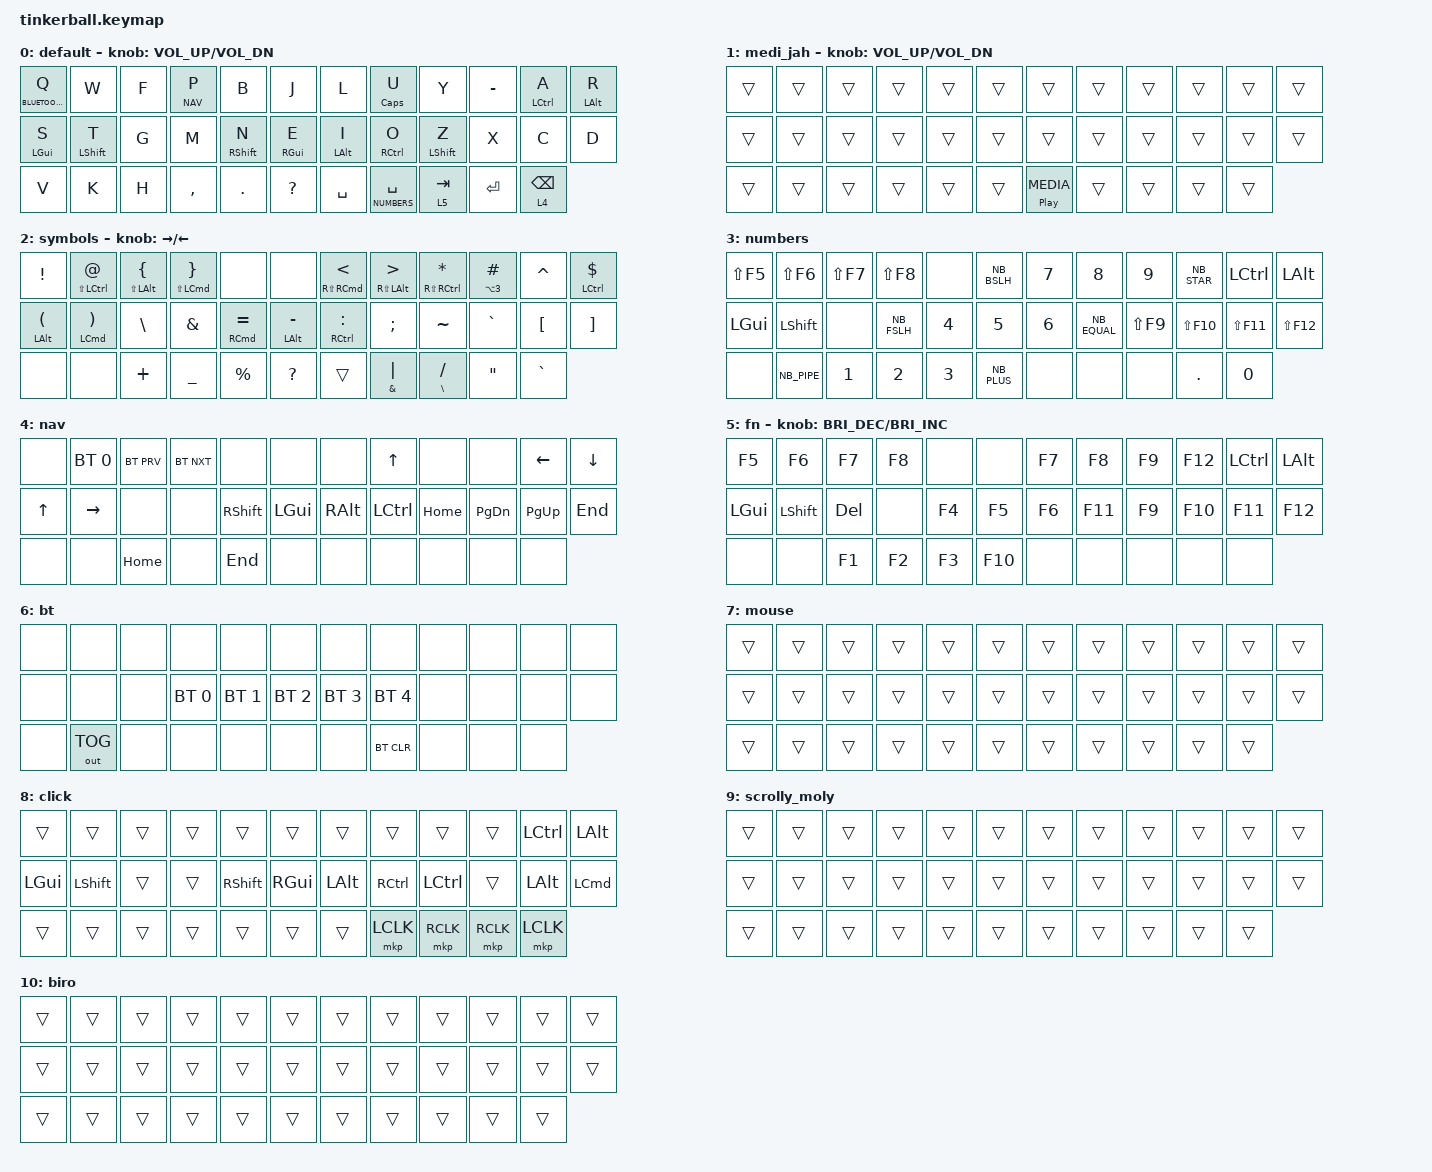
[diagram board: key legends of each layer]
#include "keys_nb_osx.h"
#include "keys_nb_win.h"
#include <behaviors.dtsi>
#include <dt-bindings/zmk/bt.h>
#include <dt-bindings/zmk/keys.h>
#include <dt-bindings/zmk/mouse.h>
#include <dt-bindings/zmk/outputs.h>

#define MEDIA 1
#define SYMBOLS 2
#define NUMBERS 3
#define NAV 4
#define FUNCTION 5
#define BLUETOOTH 6
#define MOUSE 7
#define CLICK 8
#define SCRL 9
#define BIRO 10

// tapping-term-ms

#define TT 160

&caps_word { continue-list = <NB_UNDERSCORE NB_MINUS WNB_UNDERSCORE WNB_MINUS>; };

/ {
    chosen { zmk,matrix_transform = &five_column_transform; };
};

/ {
    combos {
        compatible = "zmk,combos";

        combo_ques {
            timeout-ms = <50>;
            key-positions = <7 6>;
            bindings = <&ques_excl>;
        };

        aa {
            bindings = <&kp LEFT_BRACKET>;
            key-positions = <26 27>;
        };

        ae {
            bindings = <&kp APOS>;
            key-positions = <3 2>;
        };

        oe {
            bindings = <&kp SEMI>;
            key-positions = <23 22>;
        };

        combo_lpar {
            bindings = <&kp NB_LPAR>;
            key-positions = <22 21>;
        };

        combo_rpara {
            bindings = <&kp NB_RPAR>;
            key-positions = <7 8>;
        };

        combo-lcurl {
            bindings = <&kp NB_RBRC>;
            key-positions = <2 1>;
        };

        combo_rcurl {
            bindings = <&kp NB_RBRC>;
            key-positions = <27 28>;
        };

        combo_at {
            bindings = <&kp NB_AT>;
            key-positions = <3 8>;
        };

        caps_word_combo {
            bindings = <&caps_word>;
            key-positions = <12 17>;
        };
    };
};

/ {
    behaviors {
        hml: hml {
            compatible = "zmk,behavior-hold-tap";
            #binding-cells = <2>;
            flavor = "balanced";
            tapping-term-ms = <280>;
            quick-tap-ms = <175>;                // repeat on tap-into-hold
            bindings = <&kp>, <&kp>;

            label = "HML";
            hold-trigger-key-positions = <5 6 7 8 9 15 16 17 18 19 25 26 27 28 29 30 31 32 33>;
        };

        hmr: hmr {
            compatible = "zmk,behavior-hold-tap";
            #binding-cells = <2>;
            flavor = "balanced";
            tapping-term-ms = <280>;
            quick-tap-ms = <175>;                // repeat on tap-into-hold
            bindings = <&kp>, <&kp>;

            label = "HMR";
            hold-trigger-key-positions = <0 1 2 3 4 10 11 12 13 14 20 21 22 23 24 30 31 32 33>;
        };

        hmpt: homerow_mods_prefer_tap {
            compatible = "zmk,behavior-hold-tap";
            label = "HOMEROW_MODS_PREFER_TAP";
            #binding-cells = <2>;
            tapping-term-ms = <TT>;
            quick-tap-ms = <0>;
            flavor = "tap-preferred";
            bindings = <&kp>, <&kp>;
        };

        blt: balanced_layer_tap {
            compatible = "zmk,behavior-hold-tap";
            label = "BALANCED_LAYER_TAP";
            #binding-cells = <2>;
            tapping-term-ms = <TT>;
            quick-tap-ms = <0>;
            flavor = "balanced";
            bindings = <&mo>, <&kp>;
        };

        tt: toggle_layer_tap {
            compatible = "zmk,behavior-hold-tap";
            label = "TOGGLE_LAYER_TAP";
            #binding-cells = <2>;
            tapping-term-ms = <250>;
            flavor = "tap-preferred";
            bindings = <&kp>, <&tog>;
        };

        repeat_encoder: repeat_encoder {
            compatible = "zmk,behavior-sensor-rotate";
            label = "REPEAT_ENCODER";
            #sensor-binding-cells = <0>;
            bindings = <&kp BSPC>, <&key_repeat>;
        };

        tsl: behavior_trackball_scroll {
            compatible = "zmk,behavior-point-device-incremental";
            label = "TRACKBALL_SCROLL";
            #trackball-binding-cells = <0>;
            mode = "scroll-mode";
            flavor = "default";
            scale_mode = "dividor";
            scale_factor = <4>;
            smoothing;
        };

        tkp_fast: behavior_trackball_key_press {
            compatible = "zmk,behavior-point-device-directional";
            label = "TRACKBALL_KEY_PRESS";
            #trackball-binding-cells = <4>;
            mode = "distance-mode";
            flavor = "2-dim";
            step_size = <50>;
        };

        apos_dqt: quot_doublequot {
            compatible = "zmk,behavior-mod-morph";
            #binding-cells = <0>;
            bindings = <&kp NB_APOS>, <&kp NB_DQT>;

            label = "quotus";
            mods = <(MOD_LSFT|MOD_RSFT)>;
        };

        ques_excl: questionmark_exlamation_mark {
            compatible = "zmk,behavior-mod-morph";
            #binding-cells = <0>;
            bindings = <&kp NB_QMARK>, <&kp NB_EXCL>;

            label = "questus";
            mods = <(MOD_LSFT|MOD_RSFT)>;
        };
    };

    conditional_layers {
        compatible = "zmk,conditional-layers";

        nav_ball_scroll {
            if-layers = <MOUSE NAV>;
            then-layer = <BIRO>;
        };

        num_ball_scroll {
            if-layers = <MOUSE SYMBOLS>;
            then-layer = <SCRL>;
        };
    };

    macros {
        vi_editing_mode: vi_editing_mode {
            label = "vi editing-mode";
            compatible = "zmk,behavior-macro";
            #binding-cells = <0>;
            bindings =
                <&macro_tap>,
                <&kp S &kp E &kp T &kp SPACE &kp MINUS &kp O &kp SPACE &kp V &kp I &kp RET>;
        };
    };

    combos {
        compatible = "zmk,combos";

        combo_vi_editing_mode {
            timeout-ms = <50>;
            key-positions = <27 28>;
            bindings = <&vi_editing_mode>;
        };
    };

    keymap {
        compatible = "zmk,keymap";

        default {
            // --------------------------------------------------------------------------------------------------------------------------------------------------------------------
            //  '    |  ,  |  .  |  P/Nav  |  Y  |                             |  F/Fn  |  G  |  C/Caps  |    R    |  L   |
            // A/Sym |  O/Ctrl  |  E/Alt [A->F13]? |  U/Cmd  |  I  |           |  D  |  H/Cmd  |  T/Alt  |    N/Ctrl    |  S/Sym |
            // Esc/Lsft|  Q/Click  |  J  |  K  |  X  |                               |  B  |  M  |  N  |    V    |Z/Rsft|
            // | Media/Play-Pause | Bspc/LC | SPC/Num/RC |                                                       | Ent | Tab |     |

            bindings = <
&lt BLUETOOTH Q  &kp W         &kp F  &blt NAV P  &kp B               &kp J        &kp L        &hml CAPS U         &kp Y         &kp MINUS  &hml LCTRL A  &hml LALT R
&hml LGUI S      &hml LSHFT T  &kp G  &kp M       &hmr RIGHT_SHIFT N  &hmr RGUI E  &hmr LALT I  &hmr RCTRL O        &hml LSHFT Z  &kp X      &kp C         &kp D
&kp V            &kp K         &kp H  &kp COMMA   &kp DOT             &kp QMARK    &kp SPACE    &blt NUMBERS SPACE  &blt 5 TAB    &kp RET    &blt 4 BSPC
            >;

            sensor-bindings = <&inc_dec_kp C_VOL_UP C_VOL_DN>;
        };

        medi_jah {
            bindings = <
&trans  &trans  &trans  &trans  &trans  &trans  &trans          &trans  &trans  &trans  &trans  &trans
&trans  &trans  &trans  &trans  &trans  &trans  &trans          &trans  &trans  &trans  &trans  &trans
&trans  &trans  &trans  &trans  &trans  &trans  &tt C_PP MEDIA  &trans  &trans  &trans  &trans
            >;

            sensor-bindings = <&inc_dec_kp C_VOL_UP C_VOL_DN>;
        };

        symbols {
            // --------------------------------------------------------------------------------------------------------------------------------------------------------------------
            //  !  |  @  |  {  |  }  |     |                |         |    <    |    >   |  *  |   #  |
            //  ^  |  $  |  (  |  )  |  \  |                |    &    |    =    |    -   |  :  |   ;  |
            //  ~  |  `  |  [  |  ]  |     |                |         |    +    |    _   |  %  |   ?  |
            //         |  ,,  | |/&  | //\ |                |    "    |    `    |   ,,   |

            bindings = <
&kp EXCL         &hml LS(LCTRL) AT  &hmpt LS(LALT) LBRC  &hml LS(LCMD) RBRC  &none          &none             &hml RS(RCMD) LT  &hmpt RS(LALT) GT  &hml RS(RCTRL) ASTERISK  &hml LA(N3) HASH  &kp CARET  &hml LCTRL DOLLAR
&hmpt LALT LPAR  &hml LCMD RPAR     &kp BACKSLASH        &kp AMPS            &hml RCMD EQL  &hmpt LALT MINUS  &hml RCTRL COLON  &kp SEMICOLON      &kp TILDE                &kp GRAVE         &kp LBKT   &kp RBKT
&none            &none              &kp PLUS             &kp UNDERSCORE      &kp PERCENT    &kp QMARK         &trans            &mt AMPS PIPE      &mt BACKSLASH SLASH      &kp DQT           &kp GRAVE
            >;

            sensor-bindings = <&inc_dec_kp RIGHT LEFT>;
            trackball-bindings = <&tmv_fine>;
        };

        numbers {
            // --------------------------------------------------------------------------------------------------------------------------------------------------------------------
            //   s-f5  |  s-f6  |  s-f7 |  s-f8  |   |            |         |    4/<    |    5/>   |  6/*  |   7//  |
            //    s-f1   |  s-f2 |  s-f3 | s-f4 |   |             |   DEL   |    0/=    |    1/-   | 2/: |   3/;  |
            //     s-f9   | s-f10 | s-f11 | s-f12 |   |           |         |    8/+    |    9/_   | +/- | *//  |
            //         |      |     |      |     |      |    .    |    =    |      |

            bindings = <
&kp LS(F5)    &kp LS(F6)   &kp LS(F7)  &kp LS(F8)   &none   &kp NB_BSLH  &kp N7  &kp N8        &kp N9      &kp NB_STAR  &kp LEFT_CONTROL  &kp LALT
&kp LEFT_GUI  &kp LSHIFT   &none       &kp NB_FSLH  &kp N4  &kp N5       &kp N6  &kp NB_EQUAL  &kp LS(F9)  &kp LS(F10)  &kp LS(F11)       &kp LS(F12)
&none         &kp NB_PIPE  &kp N1      &kp N2       &kp N3  &kp NB_PLUS  &none   &none         &none       &kp DOT      &kp N0
            >;

            trackball-bindings = <&tsl>;
        };

        nav {
            // --------------------------------------------------------------------------------------------------------------------------------------------------------------------
            //     |     |     |     |     |                |         |         |    ^   |     |      |
            //     |     |     |     |     |                |         |    <    |    v   |  >  |      |
            //     |     |     |     |     |                |         |   HOME  |        | END |      |
            //         |      |     |      |     |      |    PgDN   |   PgUP  |      |

            bindings = <
&none   &bt BT_SEL 0  &bt BT_PRV  &bt BT_NXT  &none            &none         &none     &kp UP     &none     &none      &kp LEFT   &kp DOWN
&kp UP  &kp RIGHT     &none       &none       &kp RIGHT_SHIFT  &kp LEFT_GUI  &kp RALT  &kp LCTRL  &kp HOME  &kp PG_DN  &kp PG_UP  &kp END
&none   &none         &kp HOME    &none       &kp END          &none         &none     &none      &none     &none      &none
            >;
        };

        fn {
            // --------------------------------------------------------------------------------------------------------------------------------------------------------------------
            //  F5 |  F6 | F7  | F8  |     |                |         |         |        |     |      |
            //  F1 |  F2 | F3  | F4  | DEL |                |         |         |        |     |      |
            //  F9 | F10 | F11 | F12 |     |                |   ,,    |   ,,    |        |     |      |
            //         |      |     |      |     |      |           |         |      |

            bindings = <
&kp F5        &kp F6      &kp F7   &kp F8  &none   &none    &kp F7  &kp F8   &kp F9  &kp F12  &kp LCTRL  &kp LEFT_ALT
&kp LEFT_GUI  &kp LSHIFT  &kp DEL  &none   &kp F4  &kp F5   &kp F6  &kp F11  &kp F9  &kp F10  &kp F11    &kp F12
&none         &none       &kp F1   &kp F2  &kp F3  &kp F10  &none   &none    &none   &none    &none
            >;

            sensor-bindings = <&inc_dec_kp C_BRI_DEC C_BRI_INC>;
        };

        bt {
            // --------------------------------------------------------------------------------------------------------------------------------------------------------------------
            //     |     |     |     |     |                |         |         |        |     |      |
            //     |     |     |     |     |                |   P0    |    P1   |   P2   |  P3 |  P4  |
            //     |     |     |     |     |                | BT/USB  |         |        |     |      |
            //         | CLR  |     |      |

            bindings = <
&none  &none         &none  &none         &none         &none         &none         &none         &none  &none  &none  &none
&none  &none         &none  &bt BT_SEL 0  &bt BT_SEL 1  &bt BT_SEL 2  &bt BT_SEL 3  &bt BT_SEL 4  &none  &none  &none  &none
&none  &out OUT_TOG  &none  &none         &none         &none         &none         &bt BT_CLR    &none  &none  &none
            >;
        };

        mouse {
            bindings = <
&trans  &trans  &trans  &trans  &trans  &trans  &trans  &trans  &trans  &trans  &trans  &trans
&trans  &trans  &trans  &trans  &trans  &trans  &trans  &trans  &trans  &trans  &trans  &trans
&trans  &trans  &trans  &trans  &trans  &trans  &trans  &trans  &trans  &trans  &trans
            >;

            trackball-bindings = <&tmv>;
        };

        click {
            bindings = <
&trans        &trans      &trans  &trans  &trans           &trans         &trans        &trans     &trans     &trans     &kp LCTRL  &kp LEFT_ALT
&kp LEFT_GUI  &kp LSHIFT  &trans  &trans  &kp RIGHT_SHIFT  &kp RIGHT_GUI  &kp LEFT_ALT  &kp RCTRL  &kp LCTRL  &trans     &kp LALT   &kp LCMD
&trans        &trans      &trans  &trans  &trans           &trans         &trans        &mkp LCLK  &mkp RCLK  &mkp RCLK  &mkp LCLK
            >;

            trackball-bindings = <&tmv_fine>;
        };

        scrolly_moly {
            bindings = <
&trans  &trans  &trans  &trans  &trans  &trans  &trans  &trans  &trans  &trans  &trans  &trans
&trans  &trans  &trans  &trans  &trans  &trans  &trans  &trans  &trans  &trans  &trans  &trans
&trans  &trans  &trans  &trans  &trans  &trans  &trans  &trans  &trans  &trans  &trans
            >;

            trackball-bindings = <&tsl>;
        };

        // ball point

        biro {
            bindings = <
&trans  &trans  &trans  &trans  &trans  &trans  &trans  &trans  &trans  &trans  &trans  &trans
&trans  &trans  &trans  &trans  &trans  &trans  &trans  &trans  &trans  &trans  &trans  &trans
&trans  &trans  &trans  &trans  &trans  &trans  &trans  &trans  &trans  &trans  &trans
            >;

            trackball-bindings = <&tkp_fast LEFT RIGHT UP DOWN>;
        };
    };
};
